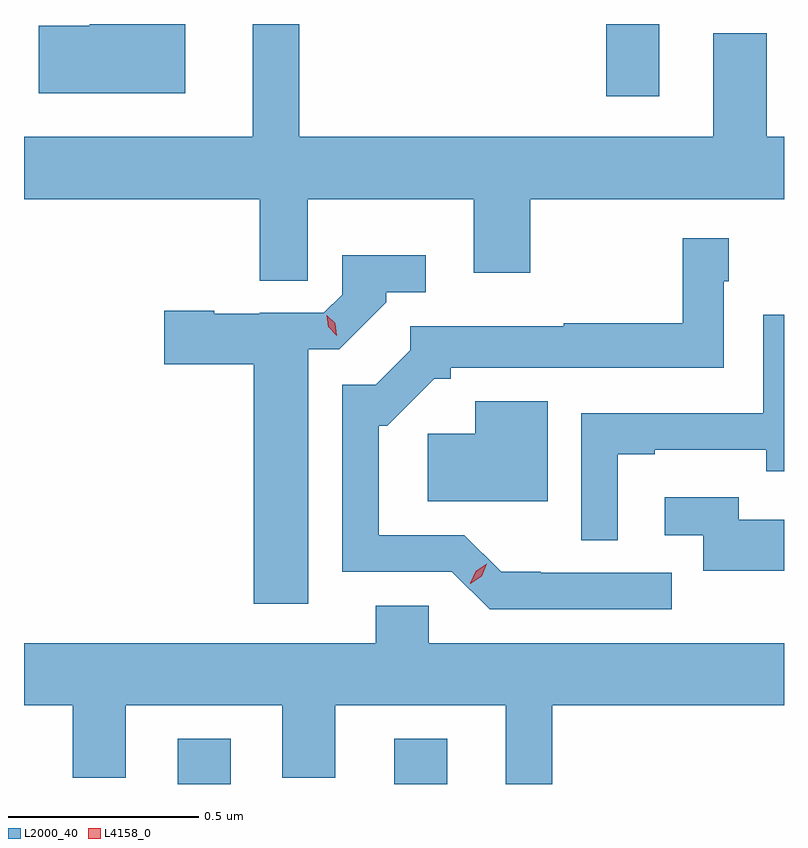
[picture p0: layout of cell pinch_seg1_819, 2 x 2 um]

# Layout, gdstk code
import gdstk
lib = gdstk.Library(unit=1e-6, precision=1e-09)
def R(c, l, rs):  # rectangles x0, y0, x1, y1
    for r in rs: c.add(gdstk.rectangle(r[:2], r[2:], *l))
def P(c, l, *ps):  # polygons
    for p in ps: c.add(gdstk.Polygon(p, *l))
L2000_40 = (2000, 40)
L4158_0 = (4158, 0)

pinch_seg1_819 = lib.new_cell('pinch_seg1_819')
R(pinch_seg1_819, L2000_40, [(401.357,571.505,401.497,571.624), (401.927,571.505,402.067,571.624), (402.485,573.315,402.625,573.505)])
P(pinch_seg1_819, L2000_40, [(401.7,573.044),(402.137,573.044),(402.137,572.85),(402.285,572.85),(402.285,573.044),(402.953,573.044),(402.953,573.208),(402.907,573.208),(402.907,573.481),(402.767,573.481),(402.767,573.208),(401.677,573.208),(401.677,573.505),(401.555,573.505),(401.555,573.208),(400.953,573.208),(400.953,573.044),(401.573,573.044),(401.573,572.83),(401.7,572.83)],
  [(401.377,573.505),(401.126,573.505),(401.126,573.5),(400.992,573.5),(400.992,573.323),(401.377,573.323)],
  [(402.657,572.061),(402.313,572.061),(402.313,572.063),(402.209,572.063),(402.111,572.16),(401.886,572.16),(401.886,572.448),(401.909,572.448),(402.033,572.571),(402.076,572.571),(402.076,572.6),(402.795,572.6),(402.795,572.828),(402.808,572.828),(402.808,572.941),(402.687,572.941),(402.687,572.718),(402.373,572.718),(402.373,572.71),(401.969,572.71),(401.969,572.646),(401.879,572.556),(401.79,572.556),(401.79,572.064),(402.079,572.064),(402.178,571.965),(402.657,571.965)],
  [(401.701,572.649),(401.782,572.649),(401.906,572.773),(401.906,572.799),(402.01,572.799),(402.01,572.896),(401.79,572.896),(401.79,572.793),(401.742,572.745),(401.574,572.745),(401.574,572.743),(401.454,572.743),(401.454,572.751),(401.322,572.751),(401.322,572.609),(401.558,572.609),(401.558,571.98),(401.701,571.98)],
  [(402.516,572.373),(402.613,572.373),(402.613,572.385),(402.906,572.385),(402.906,572.328),(402.953,572.328),(402.953,572.74),(402.899,572.74),(402.899,572.481),(402.42,572.481),(402.42,572.146),(402.516,572.146)],
  [(402.331,572.512),(402.14,572.512),(402.14,572.427),(402.015,572.427),(402.015,572.249),(402.331,572.249)],
  [(402.953,572.2),(402.834,572.2),(402.834,572.26),(402.639,572.26),(402.639,572.159),(402.741,572.159),(402.741,572.066),(402.953,572.066)],
  [(402.221,571.505),(402.343,571.505),(402.343,571.712),(402.953,571.712),(402.953,571.876),(402.018,571.876),(402.018,571.974),(401.879,571.974),(401.879,571.876),(400.953,571.876),(400.953,571.712),(401.081,571.712),(401.081,571.522),(401.221,571.522),(401.221,571.712),(401.633,571.712),(401.633,571.522),(401.772,571.522),(401.772,571.712),(402.221,571.712)])
P(pinch_seg1_819, L4158_0, [(401.776,572.685),(401.776,572.685),(401.754,572.708),(401.75,572.739),(401.75,572.739),(401.75,572.739),(401.772,572.717),(401.776,572.685)],
  [(402.127,572.032),(402.127,572.033),(402.142,572.065),(402.171,572.084),(402.171,572.084),(402.171,572.084),(402.157,572.052),(402.127,572.032)])

lib.write_gds('pinch_seg1_819.gds')
